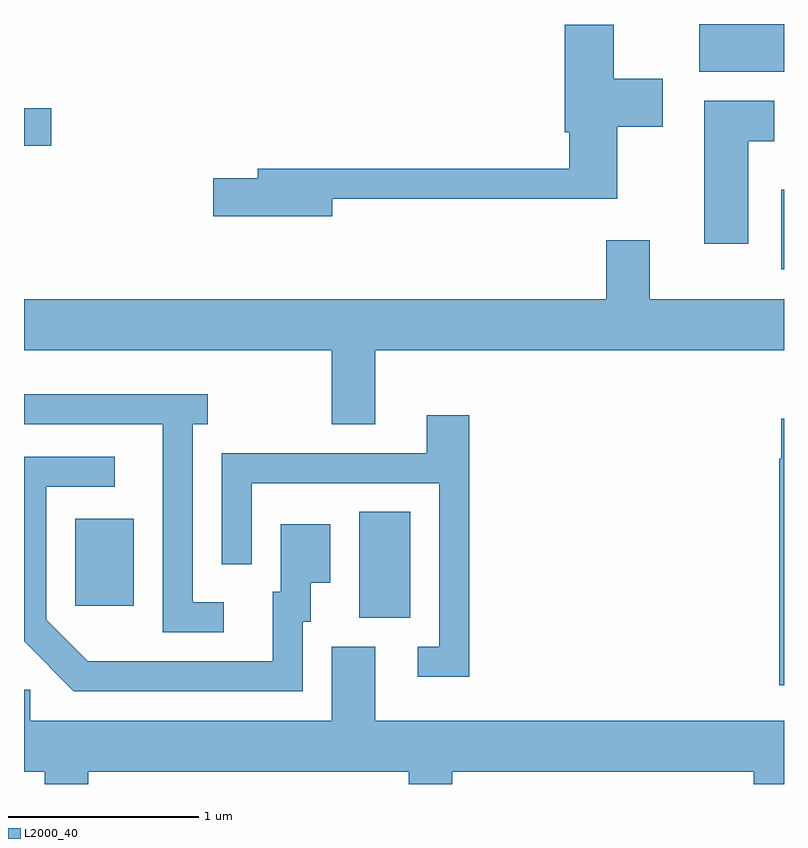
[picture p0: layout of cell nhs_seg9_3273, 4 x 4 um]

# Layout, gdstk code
import gdstk
lib = gdstk.Library(unit=1e-6, precision=1e-09)
def R(c, l, rs):  # rectangles x0, y0, x1, y1
    for r in rs: c.add(gdstk.rectangle(r[:2], r[2:], *l))
def P(c, l, *ps):  # polygons
    for p in ps: c.add(gdstk.Polygon(p, *l))
L2000_40 = (2000, 40)

nhs_seg9_3273 = lib.new_cell('nhs_seg9_3273')
R(nhs_seg9_3273, L2000_40, [(283.376,1979.306,283.644,1979.864), (281.881,1979.371,282.189,1979.829), (285.596,1981.141,285.611,1981.559), (281.611,1981.791,281.754,1981.989), (285.166,1982.181,285.611,1982.432)])
P(nhs_seg9_3273, L2000_40, [(283.234,1981.511),(284.734,1981.511),(284.734,1981.891),(284.974,1981.891),(284.974,1982.144),(284.714,1982.144),(284.714,1982.429),(284.456,1982.429),(284.456,1981.861),(284.481,1981.861),(284.481,1981.669),(282.841,1981.669),(282.841,1981.619),(282.606,1981.619),(282.606,1981.421),(283.234,1981.421)],
  [(285.424,1981.816),(285.559,1981.816),(285.559,1982.029),(285.191,1982.029),(285.191,1981.276),(285.424,1981.276)],
  [(283.459,1980.716),(285.611,1980.716),(285.611,1980.984),(284.904,1980.984),(284.904,1981.294),(284.676,1981.294),(284.676,1980.984),(281.611,1980.984),(281.611,1980.716),(283.231,1980.716),(283.231,1980.326),(283.459,1980.326)],
  [(282.663,1979.389),(282.499,1979.389),(282.499,1980.326),(282.578,1980.326),(282.578,1980.484),(281.611,1980.484),(281.611,1980.326),(282.341,1980.326),(282.341,1979.231),(282.663,1979.231)],
  [(283.954,1980.374),(283.731,1980.374),(283.731,1980.174),(282.651,1980.174),(282.651,1979.588),(282.809,1979.588),(282.809,1980.016),(283.796,1980.016),(283.796,1979.154),(283.683,1979.154),(283.683,1978.996),(283.954,1978.996)],
  [(285.611,1980.354),(285.596,1980.354),(285.596,1980.145),(285.586,1980.145),(285.586,1978.951),(285.611,1978.951)],
  [(283.079,1979.286),(283.119,1979.286),(283.119,1979.491),(283.224,1979.491),(283.224,1979.799),(282.961,1979.799),(282.961,1979.444),(282.921,1979.444),(282.921,1979.079),(281.947,1979.079),(281.729,1979.297),(281.729,1979.996),(282.088,1979.996),(282.088,1980.154),(281.611,1980.154),(281.611,1979.184),(281.874,1978.921),(283.079,1978.921)],
  [(283.459,1979.154),(283.231,1979.154),(283.231,1978.764),(281.644,1978.764),(281.644,1978.929),(281.611,1978.929),(281.611,1978.496),(281.721,1978.496),(281.721,1978.432),(281.949,1978.432),(281.949,1978.496),(283.636,1978.496),(283.636,1978.432),(283.864,1978.432),(283.864,1978.496),(285.451,1978.496),(285.451,1978.432),(285.611,1978.432),(285.611,1978.764),(283.459,1978.764)])

lib.write_gds('nhs_seg9_3273.gds')
